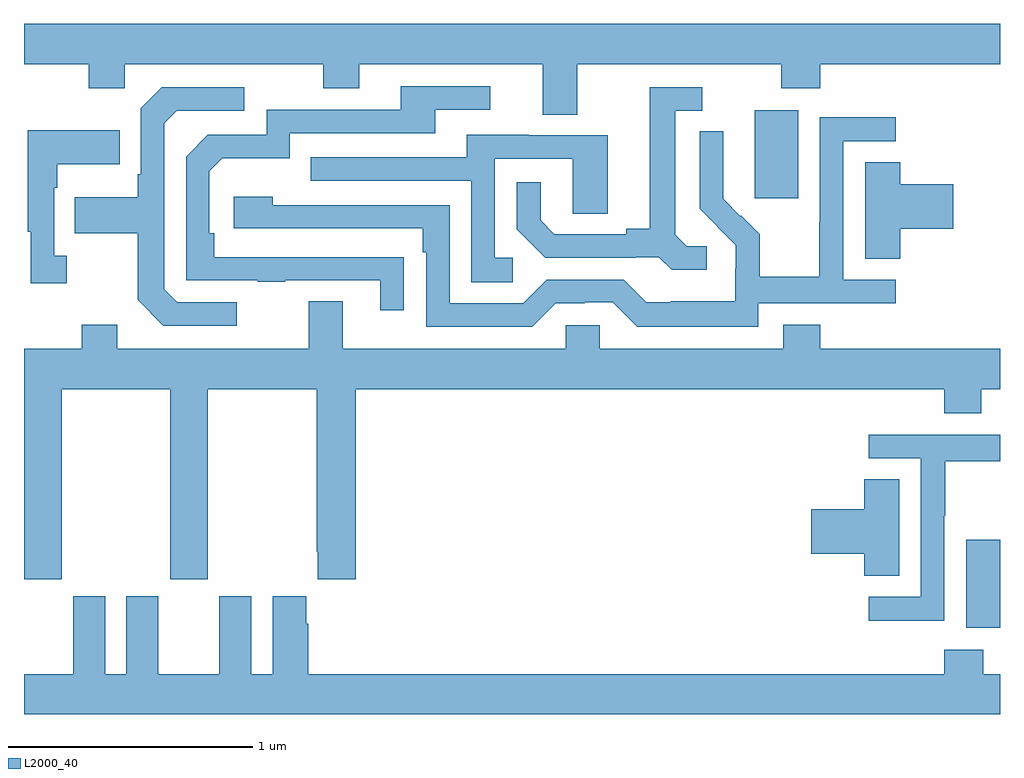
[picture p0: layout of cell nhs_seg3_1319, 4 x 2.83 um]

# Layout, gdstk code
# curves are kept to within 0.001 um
import gdstk
lib = gdstk.Library(unit=1e-6, precision=1e-09)
def R(c, l, rs):  # rectangles x0, y0, x1, y1
    for r in rs: c.add(gdstk.rectangle(r[:2], r[2:], *l))
def P(c, l, *ps):  # polygons
    for p in ps: c.add(gdstk.Polygon(p, *l))
L2000_40 = (2000, 40)

nhs_seg3_1319 = lib.new_cell('nhs_seg3_1319')
R(nhs_seg3_1319, L2000_40, [(182.861,713.258,183,713.619), (181.994,715.017,182.173,715.378)])
P(nhs_seg3_1319, L2000_40, [(181.267,715.568),(182.104,715.568),(182.104,715.469),(182.264,715.469),(182.264,715.568),(183,715.568),(183,715.732),(179,715.732),(179,715.568),(179.266,715.568),(179.266,715.469),(179.412,715.469),(179.412,715.568),(180.226,715.568),(180.226,715.469),(180.373,715.469),(180.373,715.568),(181.127,715.568),(181.127,715.36),(181.267,715.36)],
  [(180.557,714.776),(179.78,714.777),(179.78,714.874),(179.76,714.874),(179.76,715.128),(179.813,715.181),(180.09,715.181),(180.09,715.284),(180.685,715.284),(180.685,715.38),(180.91,715.38),(180.91,715.476),(180.545,715.476),(180.545,715.38),(179.994,715.38),(179.994,715.278),(179.754,715.278),(179.664,715.188),(179.664,714.681),(179.959,714.681),(179.959,714.676),(180.071,714.676),(180.071,714.681),(180.461,714.681),(180.461,714.558),(180.557,714.558)],
  [(179.872,714.591),(179.628,714.591),(179.574,714.645),(179.574,715.326),(179.625,715.377),(179.902,715.377),(179.902,715.473),(179.565,715.473),(179.478,715.386),(179.478,715.117),(179.466,715.117),(179.466,715.021),(179.209,715.021),(179.209,714.874),(179.466,714.874),(179.466,714.601),(179.571,714.495),(179.872,714.495)],
  [(181.798,714.822),(181.716,714.822),(181.669,714.869),(181.669,715.377),(181.78,715.377),(181.78,715.473),(181.565,715.473),(181.565,714.893),(181.469,714.893),(181.469,714.87),(181.174,714.87),(181.117,714.927),(181.117,715.084),(181.02,715.084),(181.02,714.89),(181.136,714.774),(181.508,714.774),(181.508,714.777),(181.602,714.777),(181.654,714.725),(181.798,714.725)],
  [(182.01,714.588),(182.572,714.588),(182.572,714.684),(182.358,714.684),(182.358,715.251),(182.572,715.251),(182.572,715.35),(182.262,715.35),(182.262,714.92),(182.26,714.92),(182.26,714.697),(182.015,714.697),(182.015,714.871),(181.938,714.948),(181.935,714.945),(181.865,715.016),(181.866,715.292),(181.77,715.292),(181.77,714.974),(181.916,714.826),(181.916,714.729),(181.914,714.729),(181.914,714.595),(181.651,714.595),(181.651,714.591),(181.551,714.591),(181.458,714.684),(181.143,714.684),(181.047,714.588),(180.744,714.588),(180.744,714.99),(180.02,714.99),(180.02,715.024),(179.859,715.024),(179.859,714.894),(180.635,714.894),(180.635,714.797),(180.648,714.797),(180.648,714.492),(181.083,714.492),(181.179,714.588),(181.298,714.588),(181.298,714.591),(181.413,714.591),(181.513,714.491),(182.01,714.491)],
  [(179.176,714.782),(179.124,714.782),(179.124,715.061),(179.137,715.061),(179.137,715.157),(179.393,715.157),(179.393,715.297),(179.016,715.297),(179.016,714.881),(179.027,714.881),(179.027,714.669),(179.176,714.669)],
  [(181.003,714.774),(180.93,714.774),(180.93,715.179),(181.248,715.179),(181.248,714.955),(181.393,714.955),(181.393,715.275),(181.069,715.275),(181.069,715.279),(180.815,715.279),(180.815,715.185),(180.175,715.185),(180.175,715.089),(180.834,715.089),(180.834,714.673),(181.003,714.673)],
  [(182.591,714.893),(182.809,714.893),(182.809,715.076),(182.591,715.076),(182.591,715.166),(182.447,715.166),(182.447,714.769),(182.591,714.769)],
  [(179.154,714.236),(179.599,714.236),(179.599,713.457),(179.754,713.457),(179.754,714.236),(180.199,714.236),(180.199,713.569),(180.203,713.569),(180.203,713.457),(180.359,713.457),(180.359,714.236),(182.771,714.236),(182.771,714.137),(182.923,714.137),(182.923,714.236),(183,714.236),(183,714.4),(182.264,714.4),(182.264,714.499),(182.111,714.499),(182.111,714.4),(181.359,714.4),(181.359,714.498),(181.221,714.498),(181.221,714.4),(180.307,714.4),(180.307,714.595),(180.167,714.595),(180.167,714.4),(179.383,714.4),(179.383,714.499),(179.236,714.499),(179.236,714.4),(179,714.4),(179,713.457),(179.154,713.457)],
  [(182.772,713.716),(182.775,713.716),(182.775,713.94),(183,713.94),(183,714.048),(182.463,714.048),(182.463,713.952),(182.676,713.952),(182.676,713.385),(182.463,713.385),(182.463,713.287),(182.772,713.287)],
  [(182.587,713.867),(182.444,713.867),(182.444,713.744),(182.226,713.744),(182.226,713.561),(182.444,713.561),(182.444,713.47),(182.587,713.47)],
  [(183,713.068),(182.931,713.068),(182.931,713.167),(182.771,713.167),(182.771,713.068),(180.164,713.068),(180.164,713.273),(180.157,713.273),(180.157,713.386),(180.02,713.386),(180.02,713.068),(179.932,713.068),(179.932,713.386),(179.801,713.386),(179.801,713.068),(179.551,713.068),(179.551,713.386),(179.42,713.386),(179.42,713.068),(179.332,713.068),(179.332,713.386),(179.201,713.386),(179.201,713.068),(179,713.068),(179,712.904),(183,712.904)])

lib.write_gds('nhs_seg3_1319.gds')
